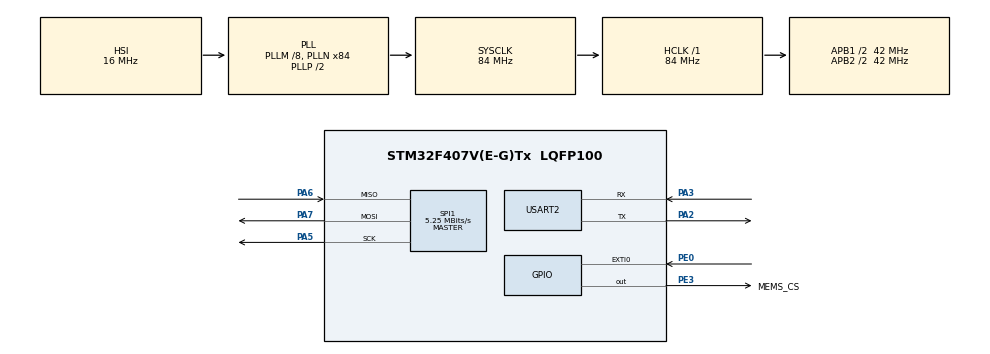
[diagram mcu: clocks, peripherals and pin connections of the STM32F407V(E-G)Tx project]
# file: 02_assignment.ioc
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Dma.Request0=SPI1_TX
Dma.Request1=SPI1_RX
Dma.SPI1_RX.1.Direction=DMA_PERIPH_TO_MEMORY
Dma.SPI1_RX.1.FIFOMode=DMA_FIFOMODE_DISABLE
Dma.SPI1_RX.1.Instance=DMA2_Stream0
Dma.SPI1_RX.1.MemDataAlignment=DMA_MDATAALIGN_BYTE
Dma.SPI1_RX.1.MemInc=DMA_MINC_ENABLE
Dma.SPI1_RX.1.Mode=DMA_NORMAL
Dma.SPI1_RX.1.PeriphDataAlignment=DMA_PDATAALIGN_BYTE
Dma.SPI1_RX.1.PeriphInc=DMA_PINC_DISABLE
Dma.SPI1_RX.1.Priority=DMA_PRIORITY_LOW
Dma.SPI1_TX.0.Direction=DMA_MEMORY_TO_PERIPH
Dma.SPI1_TX.0.FIFOMode=DMA_FIFOMODE_DISABLE
Dma.SPI1_TX.0.Instance=DMA2_Stream3
Dma.SPI1_TX.0.MemDataAlignment=DMA_MDATAALIGN_BYTE
Dma.SPI1_TX.0.MemInc=DMA_MINC_ENABLE
Dma.SPI1_TX.0.Mode=DMA_NORMAL
Dma.SPI1_TX.0.PeriphDataAlignment=DMA_PDATAALIGN_BYTE
Dma.SPI1_TX.0.PeriphInc=DMA_PINC_DISABLE
Dma.SPI1_TX.0.Priority=DMA_PRIORITY_LOW
Mcu.Family=STM32F4
Mcu.Name=STM32F407V(E-G)Tx
Mcu.Package=LQFP100
NVIC.DMA2_Stream0_IRQn=true\:0\:0\:false\:false\:true\:false\:true\:true
NVIC.DMA2_Stream3_IRQn=true\:0\:0\:false\:false\:true\:false\:true\:true
NVIC.PriorityGroup=NVIC_PRIORITYGROUP_4
NVIC.TIM2_IRQn=true\:0\:0\:false\:false\:true\:true\:true\:true
PA2.Mode=Asynchronous
PA2.Signal=USART2_TX
PA3.Mode=Asynchronous
PA3.Signal=USART2_RX
PA5.Mode=Full_Duplex_Master
PA5.Signal=SPI1_SCK
PA6.Mode=Full_Duplex_Master
PA6.Signal=SPI1_MISO
PA7.Mode=Full_Duplex_Master
PA7.Signal=SPI1_MOSI
PE0.Signal=GPXTI0
PE3.GPIO_Label=MEMS_CS
PE3.Signal=GPIO_Output
ProjectManager.HeapSize=0x200
ProjectManager.StackSize=0x400
ProjectManager.TargetToolchain=STM32CubeIDE
RCC.48MHZClocksFreq_Value=24000000
RCC.AHBFreq_Value=84000000
RCC.APB1CLKDivider=RCC_HCLK_DIV2
RCC.APB1Freq_Value=42000000
RCC.APB1TimFreq_Value=84000000
RCC.APB2CLKDivider=RCC_HCLK_DIV2
RCC.APB2Freq_Value=42000000
RCC.APB2TimFreq_Value=84000000
RCC.CortexFreq_Value=84000000
RCC.HCLKFreq_Value=84000000
RCC.HSE_VALUE=8000000
RCC.HSI_VALUE=16000000
RCC.LSE_VALUE=32768
RCC.PLLM=8
RCC.PLLN=84
RCC.PLLQ=7
RCC.SYSCLKFreq_VALUE=84000000
RCC.SYSCLKSource=RCC_SYSCLKSOURCE_PLLCLK
RCC.VCOOutputFreq_Value=168000000
SPI1.BaudRatePrescaler=SPI_BAUDRATEPRESCALER_8
SPI1.CalculateBaudRate=5.25 MBits/s
SPI1.Direction=SPI_DIRECTION_2LINES
SPI1.Mode=SPI_MODE_MASTER
SPI1.VirtualType=VM_MASTER
TIM2.Period=100-1
TIM2.Prescaler=8399
USART2.VirtualMode=VM_ASYNC
VP_TIM2_VS_ClockSourceINT.Mode=Internal
board=STM32F407G-DISC1

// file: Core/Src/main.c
/* USER CODE BEGIN Header */
/**
  ******************************************************************************
  * @file           : main.c
  * @brief          : Main program body
  ******************************************************************************
  * @attention
  *
  * Copyright (c) 2025 STMicroelectronics.
  * All rights reserved.
  *
  * This software is licensed under terms that can be found in the LICENSE file
  * in the root directory of this software component.
  * If no LICENSE file comes with this software, it is provided AS-IS.
  *
  ******************************************************************************
  */
/* USER CODE END Header */
#include "main.h"

/* USER CODE BEGIN Includes */
#include "MY_LIS3DSH.h"
#include <stdio.h>
#include <string.h>
/* USER CODE END Includes */

SPI_HandleTypeDef hspi1;
DMA_HandleTypeDef hdma_spi1_tx;
DMA_HandleTypeDef hdma_spi1_rx;

TIM_HandleTypeDef htim2;

UART_HandleTypeDef huart2;

/* USER CODE BEGIN PV */
/* Private variables ---------------------------------------------------------*/
#define STUDENT_ID "1262240539"

uint8_t spi_tx_buf[8];
uint8_t spi_rx_buf[8];
volatile uint8_t spi_dma_done = 0;
volatile uint8_t spi_dma_error = 0;
volatile uint8_t flag_10ms = 0;
volatile uint32_t tick_1s = 0;

LIS3DSH_DataScaled accelData;
uint8_t who_am_i = 0;
uint8_t drdyFlag;
/* USER CODE END PV */

void SystemClock_Config(void);
static void MX_GPIO_Init(void);
static void MX_DMA_Init(void);
static void MX_SPI1_Init(void);
static void MX_TIM2_Init(void);
static void MX_USART2_UART_Init(void);
/* USER CODE BEGIN PFP */
/* Private function prototypes -----------------------------------------------*/

/* USER CODE END PFP */

/* USER CODE BEGIN 0 */
void HAL_TIM_PeriodElapsedCallback(TIM_HandleTypeDef *htim)
{
    if (htim->Instance == TIM2)
    {
        flag_10ms = 1;        // 10 ms tick flag
        tick_1s++;            // software counter
    }
}

void HAL_SPI_TxRxCpltCallback(SPI_HandleTypeDef *hspi)
{
    if (hspi->Instance == SPI1)
    {
        spi_dma_done = 1;
    }
}

void HAL_SPI_ErrorCallback(SPI_HandleTypeDef *hspi)
{
    if (hspi->Instance == SPI1)
    {
        spi_dma_error = 1;
    }
}

void Read_LIS3DSH_DMA(void)
{
    // LIS3DSH OUT_X_L address = 0x28, set MSB=1 for read, bit6=1 for auto-increment
    spi_tx_buf[0] = 0x28 | 0xC0;
    memset(&spi_tx_buf[1], 0x00, 6);
    HAL_GPIO_WritePin(MEMS_CS_GPIO_Port, MEMS_CS_Pin, GPIO_PIN_RESET);
    if (HAL_SPI_TransmitReceive_DMA(&hspi1, spi_tx_buf, spi_rx_buf, 7) != HAL_OK)
    {
        spi_dma_error = 1;
    }
}

void Process_SPI_Data(void)
{
    int16_t rawX = (int16_t)(spi_rx_buf[2] << 8 | spi_rx_buf[1]);
    int16_t rawY = (int16_t)(spi_rx_buf[4] << 8 | spi_rx_buf[3]);
    int16_t rawZ = (int16_t)(spi_rx_buf[6] << 8 | spi_rx_buf[5]);

    accelData.x = rawX * 0.06f;  // mg/LSB (for ±2g)
    accelData.y = rawY * 0.06f;
    accelData.z = rawZ * 0.06f;

    HAL_GPIO_WritePin(MEMS_CS_GPIO_Port, MEMS_CS_Pin, GPIO_PIN_SET);
}

/* USER CODE END 0 */

int main(void)
{

  /* MCU Configuration--------------------------------------------------------*/

  /* Reset of all peripherals, Initializes the Flash interface and the Systick. */
  HAL_Init();

  /* Configure the system clock */
  SystemClock_Config();

  /* Initialize all configured peripherals */
  MX_GPIO_Init();
  MX_DMA_Init();
  MX_SPI1_Init();
  MX_TIM2_Init();
  MX_USART2_UART_Init();
  // --- Initialize LIS3DSH ---
  LIS3DSH_InitTypeDef accInit;
  accInit.enableAxes = LIS3DSH_XYZ_ENABLE;
  accInit.dataRate = LIS3DSH_DATARATE_100;
  accInit.fullScale = LIS3DSH_FULLSCALE_2;
  //accInit.antiAliasingBW = LIS3DSH_AA_BW_50HZ;
  accInit.interruptEnable = 0; // we’re using polling/DMA

  LIS3DSH_Init(&hspi1, &accInit);
  HAL_Delay(10);

  /* USER CODE BEGIN 2 */
  // --- WHO_AM_I check ---
  uint8_t regAddr = 0x0F | 0x80;
  HAL_GPIO_WritePin(MEMS_CS_GPIO_Port, MEMS_CS_Pin, GPIO_PIN_RESET);
  HAL_SPI_Transmit(&hspi1, &regAddr, 1, HAL_MAX_DELAY);
  HAL_SPI_Receive(&hspi1, &who_am_i, 1, HAL_MAX_DELAY);
  HAL_GPIO_WritePin(MEMS_CS_GPIO_Port, MEMS_CS_Pin, GPIO_PIN_SET);

  char msg[128];
  sprintf(msg, "\r\n[ID:%s] LIS3DSH WHO_AM_I=0x%02X\r\n", STUDENT_ID, who_am_i);
  HAL_UART_Transmit(&huart2, (uint8_t*)msg, strlen(msg), HAL_MAX_DELAY);

  // --- Start 10 ms timer ---
  HAL_TIM_Base_Start_IT(&htim2);

  /* USER CODE END 2 */

  /* Infinite loop */
  while (1)
  {

    /* USER CODE BEGIN 3 */
	  if (flag_10ms)
	        {
	            flag_10ms = 0;
	            Read_LIS3DSH_DMA();
	        }

	        if (spi_dma_done)
	        {
	            spi_dma_done = 0;
	            Process_SPI_Data();
	        }

	        if (spi_dma_error)
	        {
	            spi_dma_error = 0;
	            sprintf(msg, "[ID:%s] DMA=ERR\r\n", STUDENT_ID);
	            HAL_UART_Transmit(&huart2, (uint8_t*)msg, strlen(msg), HAL_MAX_DELAY);
	        }

	        // --- 2s UART report ---
	        if (tick_1s >= 200)   // 200 × 10ms = 2s
	        {
	            tick_1s = 0;

	            sprintf(msg,
	                "[ID:%s] WHO_AM_I=0x%02X | X=%+0.2f | Y=%+0.2f | Z=%+0.2f | DMA=OK\r\n",
	                STUDENT_ID, who_am_i, accelData.x, accelData.y, accelData.z);
	            HAL_UART_Transmit_DMA(&huart2, (uint8_t*)msg, strlen(msg));
	        }

  }
  /* USER CODE END 3 */
}

void SystemClock_Config(void)
{
  RCC_OscInitTypeDef RCC_OscInitStruct = {0};
  RCC_ClkInitTypeDef RCC_ClkInitStruct = {0};

  /** Configure the main internal regulator output voltage
  */
  __HAL_RCC_PWR_CLK_ENABLE();
  __HAL_PWR_VOLTAGESCALING_CONFIG(PWR_REGULATOR_VOLTAGE_SCALE1);

  /** Initializes the RCC Oscillators according to the specified parameters
  * in the RCC_OscInitTypeDef structure.
  */
  RCC_OscInitStruct.OscillatorType = RCC_OSCILLATORTYPE_HSI;
  RCC_OscInitStruct.HSIState = RCC_HSI_ON;
  RCC_OscInitStruct.HSICalibrationValue = RCC_HSICALIBRATION_DEFAULT;
  RCC_OscInitStruct.PLL.PLLState = RCC_PLL_ON;
  RCC_OscInitStruct.PLL.PLLSource = RCC_PLLSOURCE_HSI;
  RCC_OscInitStruct.PLL.PLLM = 8;
  RCC_OscInitStruct.PLL.PLLN = 84;
  RCC_OscInitStruct.PLL.PLLP = RCC_PLLP_DIV2;
  RCC_OscInitStruct.PLL.PLLQ = 7;
  if (HAL_RCC_OscConfig(&RCC_OscInitStruct) != HAL_OK)
  {
    Error_Handler();
  }

  /** Initializes the CPU, AHB and APB buses clocks
  */
  RCC_ClkInitStruct.ClockType = RCC_CLOCKTYPE_HCLK|RCC_CLOCKTYPE_SYSCLK
                              |RCC_CLOCKTYPE_PCLK1|RCC_CLOCKTYPE_PCLK2;
  RCC_ClkInitStruct.SYSCLKSource = RCC_SYSCLKSOURCE_PLLCLK;
  RCC_ClkInitStruct.AHBCLKDivider = RCC_SYSCLK_DIV1;
  RCC_ClkInitStruct.APB1CLKDivider = RCC_HCLK_DIV2;
  RCC_ClkInitStruct.APB2CLKDivider = RCC_HCLK_DIV2;

  if (HAL_RCC_ClockConfig(&RCC_ClkInitStruct, FLASH_LATENCY_2) != HAL_OK)
  {
    Error_Handler();
  }
}

static void MX_SPI1_Init(void)
{

  /* SPI1 parameter configuration*/
  hspi1.Instance = SPI1;
  hspi1.Init.Mode = SPI_MODE_MASTER;
  hspi1.Init.Direction = SPI_DIRECTION_2LINES;
  hspi1.Init.DataSize = SPI_DATASIZE_8BIT;
  hspi1.Init.CLKPolarity = SPI_POLARITY_LOW;
  hspi1.Init.CLKPhase = SPI_PHASE_1EDGE;
  hspi1.Init.NSS = SPI_NSS_SOFT;
  hspi1.Init.BaudRatePrescaler = SPI_BAUDRATEPRESCALER_8;
  hspi1.Init.FirstBit = SPI_FIRSTBIT_MSB;
  hspi1.Init.TIMode = SPI_TIMODE_DISABLE;
  hspi1.Init.CRCCalculation = SPI_CRCCALCULATION_DISABLE;
  hspi1.Init.CRCPolynomial = 10;
  if (HAL_SPI_Init(&hspi1) != HAL_OK)
  {
    Error_Handler();
  }

}

static void MX_TIM2_Init(void)
{

  TIM_ClockConfigTypeDef sClockSourceConfig = {0};
  TIM_MasterConfigTypeDef sMasterConfig = {0};

  htim2.Instance = TIM2;
  htim2.Init.Prescaler = 8399;
  htim2.Init.CounterMode = TIM_COUNTERMODE_UP;
  htim2.Init.Period = 100-1;
  htim2.Init.ClockDivision = TIM_CLOCKDIVISION_DIV1;
  htim2.Init.AutoReloadPreload = TIM_AUTORELOAD_PRELOAD_DISABLE;
  if (HAL_TIM_Base_Init(&htim2) != HAL_OK)
  {
    Error_Handler();
  }
  sClockSourceConfig.ClockSource = TIM_CLOCKSOURCE_INTERNAL;
  if (HAL_TIM_ConfigClockSource(&htim2, &sClockSourceConfig) != HAL_OK)
  {
    Error_Handler();
  }
  sMasterConfig.MasterOutputTrigger = TIM_TRGO_RESET;
  sMasterConfig.MasterSlaveMode = TIM_MASTERSLAVEMODE_DISABLE;
  if (HAL_TIMEx_MasterConfigSynchronization(&htim2, &sMasterConfig) != HAL_OK)
  {
    Error_Handler();
  }

}

static void MX_USART2_UART_Init(void)
{

  huart2.Instance = USART2;
  huart2.Init.BaudRate = 115200;
  huart2.Init.WordLength = UART_WORDLENGTH_8B;
  huart2.Init.StopBits = UART_STOPBITS_1;
  huart2.Init.Parity = UART_PARITY_NONE;
  huart2.Init.Mode = UART_MODE_TX_RX;
  huart2.Init.HwFlowCtl = UART_HWCONTROL_NONE;
  huart2.Init.OverSampling = UART_OVERSAMPLING_16;
  if (HAL_UART_Init(&huart2) != HAL_OK)
  {
    Error_Handler();
  }

}

static void MX_DMA_Init(void)
{

  /* DMA controller clock enable */
  __HAL_RCC_DMA2_CLK_ENABLE();

  /* DMA interrupt init */
  /* DMA2_Stream0_IRQn interrupt configuration */
  HAL_NVIC_SetPriority(DMA2_Stream0_IRQn, 0, 0);
  HAL_NVIC_EnableIRQ(DMA2_Stream0_IRQn);
  /* DMA2_Stream3_IRQn interrupt configuration */
  HAL_NVIC_SetPriority(DMA2_Stream3_IRQn, 0, 0);
  HAL_NVIC_EnableIRQ(DMA2_Stream3_IRQn);

}

static void MX_GPIO_Init(void)
{
  GPIO_InitTypeDef GPIO_InitStruct = {0};

  /* GPIO Ports Clock Enable */
  __HAL_RCC_GPIOE_CLK_ENABLE();
  __HAL_RCC_GPIOA_CLK_ENABLE();

  /*Configure GPIO pin Output Level */
  HAL_GPIO_WritePin(MEMS_CS_GPIO_Port, MEMS_CS_Pin, GPIO_PIN_RESET);

  /*Configure GPIO pin : MEMS_CS_Pin */
  GPIO_InitStruct.Pin = MEMS_CS_Pin;
  GPIO_InitStruct.Mode = GPIO_MODE_OUTPUT_PP;
  GPIO_InitStruct.Pull = GPIO_NOPULL;
  GPIO_InitStruct.Speed = GPIO_SPEED_FREQ_LOW;
  HAL_GPIO_Init(MEMS_CS_GPIO_Port, &GPIO_InitStruct);

  /*Configure GPIO pin : PE0 */
  GPIO_InitStruct.Pin = GPIO_PIN_0;
  GPIO_InitStruct.Mode = GPIO_MODE_IT_RISING;
  GPIO_InitStruct.Pull = GPIO_NOPULL;
  HAL_GPIO_Init(GPIOE, &GPIO_InitStruct);

}

/* USER CODE BEGIN 4 */
void HAL_GPIO_EXTI_Callback(uint16_t GPIO_Pin)
{
  /* Prevent unused argument(s) compilation warning */
  UNUSED(GPIO_Pin);
  /* NOTE: This function Should not be modified, when the callback is needed,
           the HAL_GPIO_EXTI_Callback could be implemented in the user file
   */

	drdyFlag = 1;
	HAL_GPIO_TogglePin(GPIOD, GPIO_PIN_13);
}
/* USER CODE END 4 */

void Error_Handler(void)
{
  while(1)
  {
  }
}
